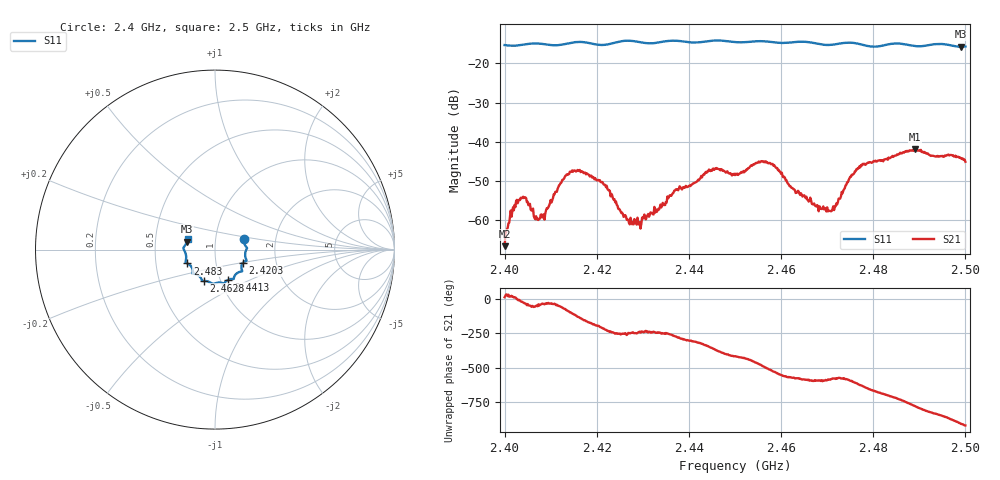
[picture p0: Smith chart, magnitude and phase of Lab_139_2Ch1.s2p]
# Hz S RI R 50
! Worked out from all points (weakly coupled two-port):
!   601 points, 2.4 GHz to 2.5 GHz, reference 50 ohm
!   highest |S21| = -41.94 dB at 2.489 GHz (marker M1); lowest = -66.5 dB at 2.4 GHz (marker M2)
!   lowest |S11| = -15.8 dB at 2.499 GHz (marker M3), VSWR 1.39, Z = 36.4 + j3.37 ohm
!   |S11| at or under -10 dB: start of sweep to end of sweep
!   S12 and S22 are empty: the file has one direction only
!   S11 on the Smith chart (normalised r, x): 2.4 GHz: 1.37, +0.16; 2.4203 GHz: 1.35, -0.21; 2.4413 GHz: 1.09, -0.38; 2.4628 GHz: 0.83, -0.30; 2.483 GHz: 0.72, -0.11; 2.5 GHz: 0.73, +0.09
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2.4e9  0.1607 0.057  0.000458 0.00011  0 0  0 0
2.403e9  0.167 0.0255  0.00175 -0.000285  0 0  0 0
2.4045e9  0.1735 0.0153  0.00167 -0.00105  0 0  0 0
2.407167e9  0.1785 0.00715  0.000651 -0.000832  0 0  0 0
2.413e9  0.1697 -0.0425  0.00112 -0.00332  0 0  0 0
2.416667e9  0.1762 -0.0613  -0.00336 -0.00259  0 0  0 0
2.420333e9  0.1552 -0.0741  -0.00316 0.000867  0 0  0 0
2.4275e9  0.15 -0.1213  -0.000387 0.00091  0 0  0 0
2.433333e9  0.1081 -0.1486  -0.000645 0.00125  0 0  0 0
2.441333e9  0.0743 -0.168  0.00202 0.00226  0 0  0 0
2.445667e9  0.0508 -0.188  0.00451 -0.000713  0 0  0 0
2.45e9  0.0293 -0.1838  0.002 -0.0032  0 0  0 0
2.457167e9  -0.0177 -0.188  -0.00462 -0.00272  0 0  0 0
2.462833e9  -0.063 -0.1747  -0.00203 0.00144  0 0  0 0
2.466667e9  -0.074 -0.1674  -0.000964 0.00132  0 0  0 0
2.471e9  -0.1018 -0.1384  -0.000966 0.000909  0 0  0 0
2.476833e9  -0.1244 -0.1256  -0.000511 0.00459  0 0  0 0
2.483e9  -0.1547 -0.0769  0.00581 0.00189  0 0  0 0
2.483333e9  -0.1569 -0.076  0.00612 0.00154  0 0  0 0
2.489e9  -0.1607 -0.041  0.00383 -0.00702  0 0  0 0
2.499e9  -0.1555 0.045  -0.00607 0.0012  0 0  0 0
2.5e9  -0.1525 0.0584  -0.00512 0.00221  0 0  0 0
